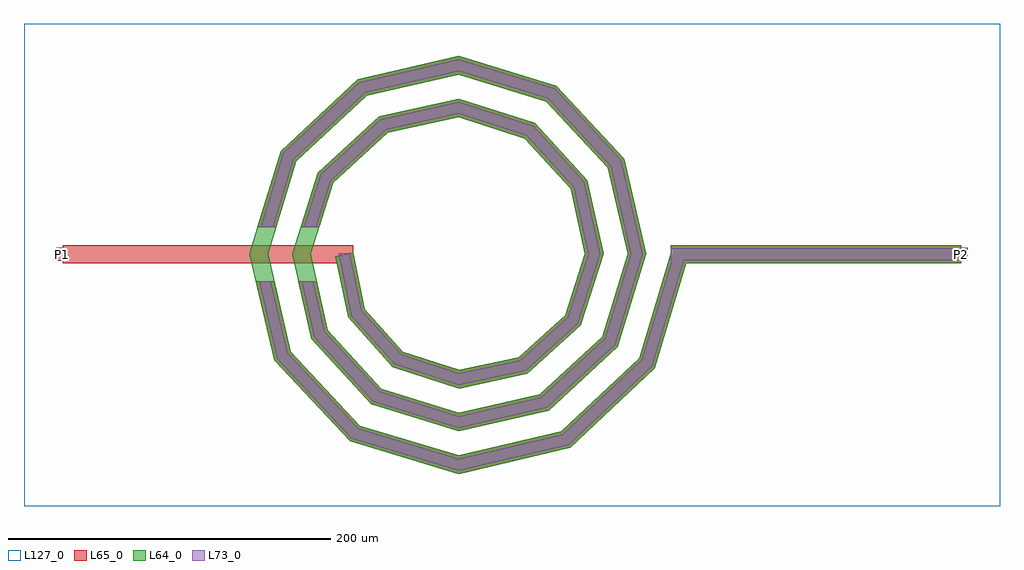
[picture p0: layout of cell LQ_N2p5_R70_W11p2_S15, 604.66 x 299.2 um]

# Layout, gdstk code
import gdstk
lib = gdstk.Library(unit=1e-6, precision=1e-09)
def R(c, l, rs):  # rectangles x0, y0, x1, y1
    for r in rs: c.add(gdstk.rectangle(r[:2], r[2:], *l))
def P(c, l, *ps):  # polygons
    for p in ps: c.add(gdstk.Polygon(p, *l))
L64_0 = (64, 0)
L65_0 = (65, 0)
L73_0 = (73, 0)
L127_0 = (127, 0)

lq_n2p5_r70_w11p2_s15 = lib.new_cell('LQ_N2p5_R70_W11p2_S15')
R(lq_n2p5_r70_w11p2_s15, L64_0, [(131.457,-5.6,311.457,5.6)])
P(lq_n2p5_r70_w11p2_s15, L64_0, [(-58.053,-33.895),(-34.441,-60.288),(0.308,-71.639),(37.183,-63.803),(66.011,-37.775),(78.263,0.284),(69.552,40.475),(41.106,71.737),(0.263,84.888),(-43.77,75.299),(-77.465,44.435),(-91.512,0.245),(-81.044,-47.068),(-47.761,-83.194),(0.23,-98.137),(50.367,-86.789),(88.924,-51.086),(104.762,0.216),(92.533,53.668),(54.409,94.655),(0.204,111.387),(-56.971,98.276),(-100.387,57.731),(-118.011,0.193),(-104.019,-60.274),(-61.053,-106.119),(0.183,-124.636),(63.578,-109.761),(111.852,-64.373),(131.694,1.613),(142.419,-1.613),(121.712,-70.475),(69.062,-119.978),(0.183,-136.227),(-67.17,-115.97),(-114.245,-65.741),(-129.601,0.193),(-110.227,63.866),(-62.419,108.512),(0.204,122.975),(60.563,104.483),(102.78,59.096),(116.35,0.216),(98.739,-57.262),(55.771,-97.049),(0.23,-109.724),(-53.961,-92.994),(-91.318,-52.446),(-103.098,0.245),(-87.247,50.662),(-49.118,85.589),(0.263,96.472),(47.366,81.5),(79.86,45.788),(89.846,0.284),(75.751,-44.071),(42.455,-74.133),(0.308,-83.22),(-40.78,-69.999),(-68.408,-39.118),(-76.287,-1.138),(-65.321,1.138)])
R(lq_n2p5_r70_w11p2_s15, L65_0, [(-245.204,-5.6,-65.204,5.6), (131.457,-5.6,311.457,5.6), (-249.204,-4,-241.204,4), (307.457,-4,315.457,4)])
P(lq_n2p5_r70_w11p2_s15, L65_0, [(-104.019,-60.274),(-61.053,-106.119),(0.183,-124.636),(63.578,-109.761),(111.852,-64.373),(131.694,1.613),(142.42,-1.613),(121.712,-70.475),(69.062,-119.978),(0.183,-136.227),(-67.17,-115.97),(-114.245,-65.741),(-125.643,-16.8),(-114.144,-16.8)],
  [(-81.044,-47.068),(-47.761,-83.194),(0.23,-98.137),(50.367,-86.789),(88.924,-51.086),(104.762,0.216),(92.533,53.668),(54.409,94.655),(0.204,111.387),(-56.971,98.276),(-100.387,57.732),(-112.841,16.8),(-124.548,16.8),(-110.227,63.866),(-62.419,108.513),(0.204,122.975),(60.563,104.483),(102.78,59.096),(116.35,0.216),(98.739,-57.262),(55.772,-97.049),(0.23,-109.724),(-53.961,-92.994),(-91.318,-52.446),(-99.288,-16.8),(-87.811,-16.8)],
  [(-34.441,-60.288),(0.308,-71.639),(37.183,-63.804),(66.011,-37.775),(78.263,0.284),(69.552,40.475),(41.106,71.737),(0.263,84.888),(-43.77,75.299),(-77.465,44.435),(-86.153,16.8),(-97.894,16.8),(-87.248,50.662),(-49.118,85.589),(0.263,96.472),(47.366,81.5),(79.86,45.788),(89.846,0.284),(75.751,-44.071),(42.455,-74.133),(0.308,-83.22),(-40.78,-69.999),(-68.408,-39.118),(-76.288,-1.138),(-65.321,1.138),(-58.053,-33.895)])
R(lq_n2p5_r70_w11p2_s15, L73_0, [(131.457,-3.6,311.457,3.6)])
P(lq_n2p5_r70_w11p2_s15, L73_0, [(-105.845,-61.25),(-62.145,-107.878),(0.118,-126.706),(64.558,-111.585),(113.613,-65.463),(133.609,1.037),(140.504,-1.037),(119.952,-69.386),(68.082,-118.154),(0.118,-134.157),(-66.078,-114.211),(-112.419,-64.765),(-123.59,-16.8),(-116.197,-16.8)],
  [(-82.879,-48.028),(-48.868,-84.944),(0.148,-100.206),(51.332,-88.621),(90.677,-52.189),(106.831,0.139),(94.363,54.638),(55.508,96.41),(0.131,113.456),(-57.944,100.104),(-102.144,58.827),(-114.932,16.8),(-122.457,16.8),(-108.47,62.771),(-61.446,106.685),(0.131,120.906),(59.464,102.728),(100.951,58.127),(114.281,0.139),(96.986,-56.159),(54.807,-95.217),(0.148,-107.655),(-52.854,-91.244),(-89.484,-51.485),(-97.238,-16.8),(-89.861,-16.8)],
  [(-35.573,-62.022),(0.198,-73.707),(38.124,-65.648),(67.751,-38.899),(80.332,0.183),(71.393,41.424),(42.224,73.481),(0.169,86.956),(-44.725,77.136),(-79.212,45.547),(-88.25,16.8),(-95.797,16.8),(-85.501,49.55),(-48.163,83.751),(0.169,94.404),(46.248,79.757),(78.02,44.839),(87.778,0.183),(74.011,-42.947),(41.513,-72.289),(0.198,-81.152),(-39.648,-68.265),(-66.559,-38.185),(-74.329,0.731),(-67.279,0.731),(-59.903,-34.827)])
R(lq_n2p5_r70_w11p2_s15, L127_0, [(-269.204,-156.227,335.457,142.975)])
lq_n2p5_r70_w11p2_s15.add(gdstk.Label('P2', (311.457,0), layer=65, texttype=0))
lq_n2p5_r70_w11p2_s15.add(gdstk.Label('P1', (-245.204,0), layer=65, texttype=0))
lq_n2p5_r70_w11p2_s15.add(gdstk.Label('P2', (315.457,0), layer=145, texttype=0))
lq_n2p5_r70_w11p2_s15.add(gdstk.Label('P1', (-249.204,0), layer=145, texttype=0))

lib.write_gds('LQ_N2p5_R70_W11p2_S15.gds')
